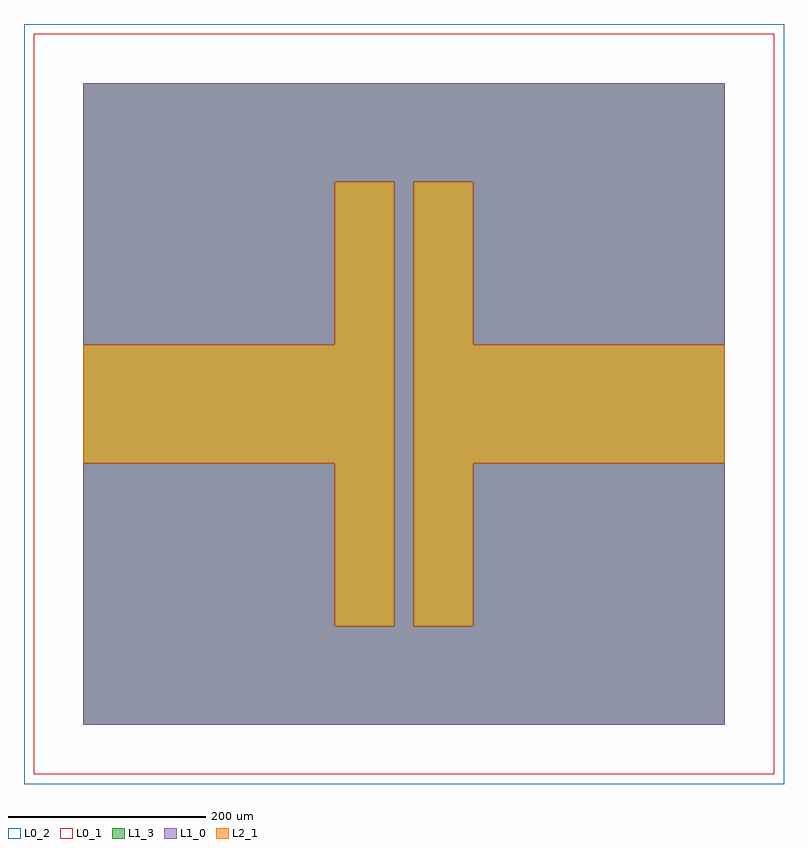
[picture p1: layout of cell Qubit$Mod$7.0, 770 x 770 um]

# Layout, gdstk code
import gdstk
lib = gdstk.Library(unit=1e-6, precision=1e-09)
def R(c, l, rs):  # rectangles x0, y0, x1, y1
    for r in rs: c.add(gdstk.rectangle(r[:2], r[2:], *l))
def P(c, l, *ps):  # polygons
    for p in ps: c.add(gdstk.Polygon(p, *l))
L0_1 = (0, 1)
L0_2 = (0, 2)
L1_0 = (1, 0)
L1_3 = (1, 3)
L2_1 = (2, 1)

qubit_mod_7_0 = lib.new_cell('Qubit$Mod$7.0')
R(qubit_mod_7_0, L0_1, [(-375,-375,375,375)])
R(qubit_mod_7_0, L0_2, [(-385,-385,385,385)])
P(qubit_mod_7_0, L1_0, [(-325,-325),(-325,-60),(-70,-60),(-70,-225),(-10,-225),(-10,225),(-70,225),(-70,60),(-325,60),(-325,325),(325,325),(325,60),(70,60),(70,225),(10,225),(10,-225),(70,-225),(70,-60),(325,-60),(325,-325)])
R(qubit_mod_7_0, L1_3, [(-325,-325,325,325)])
R(qubit_mod_7_0, L2_1, [(-70,-225,-10,225), (10,-225,70,225), (-325,-60,-70,60), (70,-60,325,60)])

lib.write_gds('Qubit_Mod_7.0.gds')
